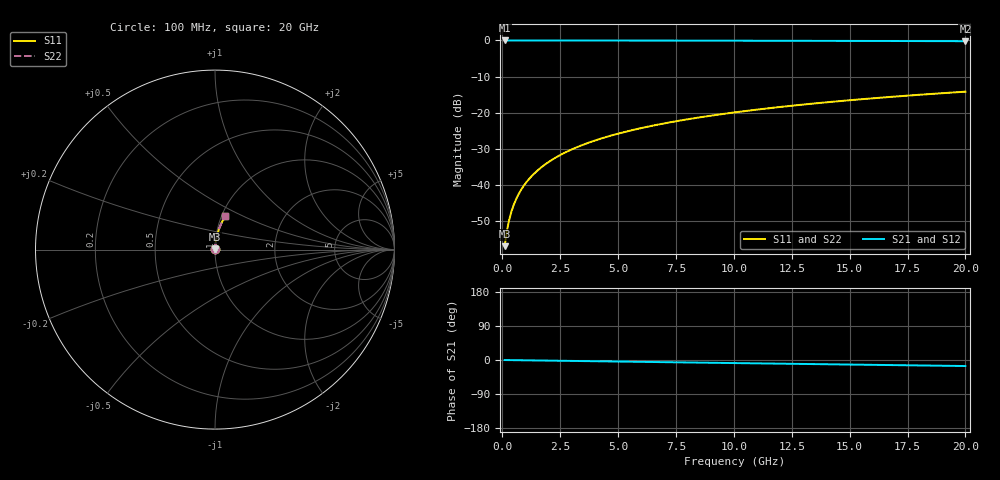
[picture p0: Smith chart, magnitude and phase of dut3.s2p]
! Touchstone file exported from HFSS 2026.1.0
!  File:  C:/ffzhzh/LocalFiles/Ansys_Project_Files/temp_val_BSMRDL_3_1782903081_13352.aedt
!  Generated:  06:52:32 PM Jul  1, 2026
!  Design:  BSMRDL
!  Project:  temp_val_BSMRDL_3_1782903081_13352
! Variables:
!  h_bsmrdl = 5.97um
!  h_ox = 20um
!  h_rdl = 5um
!  h_sub = 80um
!  h_tmrdl = 5um
!  h_tsv = 80um
!  h_via = 3um
!  l_bsmrdl = 170.7um
!  l_sub = 570.7um
!  l_tmrdl = 200um
!  m_sub = 200um
!  pitch = 49.33um
!  r_tsv = 6um
!  s_tmrdl = 10um
!  w_bsmrdl = 11.63um
!  w_sub = 500um
!  w_tmrdl = 12um
!  x_tsv_center1 = 206um
!  x_tsv_center2 = 388.33um
!  x_tsv_center3 = 600.33um
!  x_tsv_center4 = 782.66um
!  x_tsv_center5 = 994.66um
!  x_tsv_center6 = 1176.99um
# GHz S MA R 50.000000
! Terminal data exported
! Port[1] = BSM_RDL1_1_T1
! Port[2] = BSM_RDL1_1_T2
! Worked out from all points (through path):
!   200 points, 100 MHz to 20 GHz, reference 50 ohm
!   highest |S21| = -0.01 dB at 100 MHz (marker M1); lowest = -0.2 dB at 20 GHz (marker M2)
!   group delay of S21, straight-line fit = 2.21 ps
!   lowest |S11| = -56.8 dB at 100 MHz (marker M3), VSWR 1.00, Z = 50.1 + j0.108 ohm
!   |S11| at or under -10 dB: start of sweep to end of sweep
!   |S22| runs from -56.8 to -14.2 dB; largest |S21 - S12| = 2.1e-15
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0.1  0.001443 48.4  0.999 -0.1  0.999 -0.1  0.001443 48.4
! Gamma 0 0 0 0
! Port Impedance 50 0 50 0
0.2  0.002363 65.5  0.999 -0.2  0.999 -0.2  0.002363 65.5
0.3  0.003369 72.5  0.999 -0.3  0.999 -0.3  0.003369 72.5
0.4  0.004394 76.2  0.999 -0.3  0.999 -0.3  0.004394 76.2
0.5  0.005425 78.4  0.9989 -0.4  0.9989 -0.4  0.005425 78.4
0.7  0.007491 81.0  0.9989 -0.6  0.9989 -0.6  0.007491 81.0
0.8  0.008526 81.9  0.9988 -0.7  0.9988 -0.7  0.008526 81.9
1  0.0106 83.0  0.9988 -0.8  0.9988 -0.8  0.0106 83.0
1.2  0.01267 83.7  0.9987 -1.0  0.9987 -1.0  0.01267 83.7
1.4  0.01475 84.1  0.9987 -1.2  0.9987 -1.2  0.01475 84.1
1.7  0.01786 84.5  0.9985 -1.4  0.9985 -1.4  0.01786 84.5
2  0.02096 84.7  0.9984 -1.7  0.9984 -1.7  0.02096 84.7
2.7  0.02818 84.7  0.9981 -2.2  0.9981 -2.2  0.02818 84.7
3.5  0.03638 84.4  0.9976 -2.9  0.9976 -2.9  0.03638 84.4
4.2  0.04351 84.0  0.9971 -3.5  0.9971 -3.5  0.04351 84.0
5  0.05159 83.5  0.9965 -4.1  0.9965 -4.1  0.05159 83.5
6.8  0.06961 82.3  0.995 -5.6  0.995 -5.6  0.06961 82.3
8.3  0.08446 81.3  0.9935 -6.8  0.9935 -6.8  0.08446 81.3
10.1  0.1021 80.0  0.9916 -8.2  0.9916 -8.2  0.1021 80.0
13.4  0.1341 77.6  0.9873 -10.8  0.9873 -10.8  0.1341 77.6
16.7  0.1654 75.2  0.9821 -13.4  0.9821 -13.4  0.1654 75.2
20  0.196 72.8  0.9761 -15.9  0.9761 -15.9  0.196 72.8
